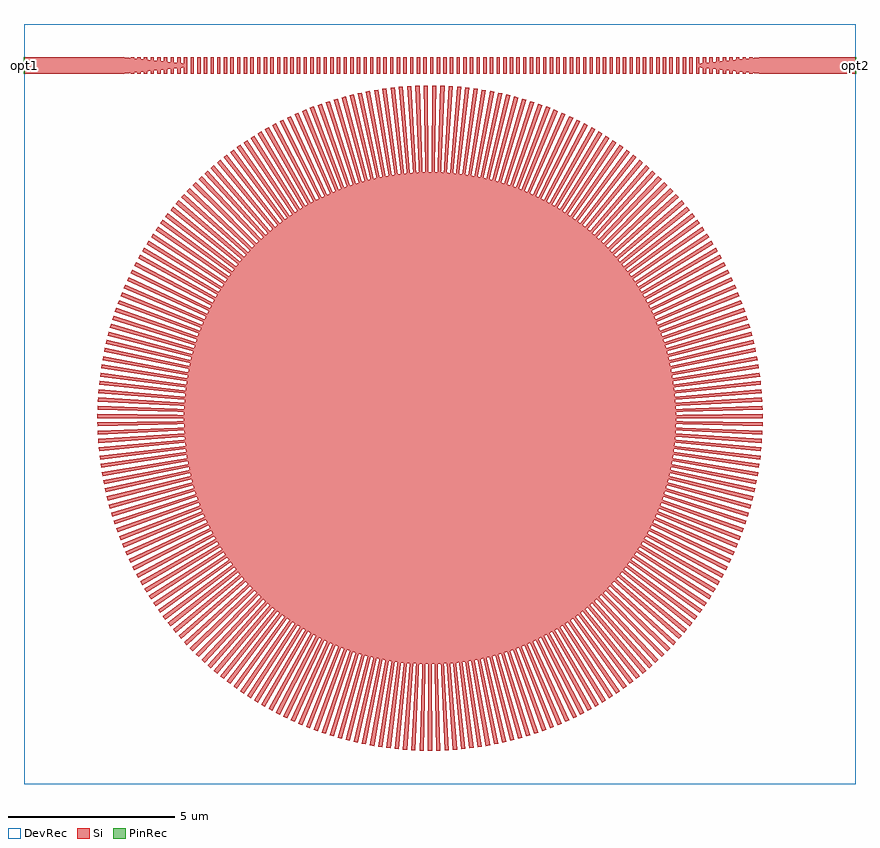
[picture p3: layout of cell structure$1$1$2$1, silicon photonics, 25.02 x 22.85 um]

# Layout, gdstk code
import gdstk
lib = gdstk.Library(unit=1e-6, precision=1e-09)
def R(c, l, rs):  # rectangles x0, y0, x1, y1
    for r in rs: c.add(gdstk.rectangle(r[:2], r[2:], *l))
def A(c, l, x, y, w, h, nx, ny, dx, dy):  # array of equal rectangles
    R(c, l, [(x+i*dx, y+j*dy, x+i*dx+w, y+j*dy+h) for i in range(nx) for j in range(ny)])
def P(c, l, *ps):  # polygons
    for p in ps: c.add(gdstk.Polygon(p, *l))
Si = (1, 0)
PinRec = (1, 10)
DevRec = (68, 0)

swg_8_1_2_1 = lib.new_cell('SWG$8$1$2$1')
A(swg_8_1_2_1, Si, 0.2, -0.25, 0.1, 0.5, 94, 1, 0.2, 0)
R(swg_8_1_2_1, Si, [(-3,-0.25,0,0.25), (19.1,-0.25,22,0.25)])
P(swg_8_1_2_1, Si, [(0,-0.25),(0,0.25),(1.9,0.05),(1.9,-0.05)],
  [(19.1,-0.25),(17.2,-0.05),(17.2,0.05),(19.1,0.25)])

swg_ring_4_1_2_1 = lib.new_cell('swg_ring$4$1$2$1')
P(swg_ring_4_1_2_1, Si, [(-0.063,-10),(-0.003,-0.4),(0.003,-0.4),(0.063,-10)],
  [(-0.018,-7.4),(-0.381,-7.39),(-0.743,-7.363),(-1.103,-7.317),(-1.46,-7.254),(-1.814,-7.174),(-2.164,-7.077),(-2.508,-6.962),(-2.847,-6.83),(-3.178,-6.683),(-3.502,-6.519),(-3.818,-6.339),(-4.124,-6.144),(-4.42,-5.935),(-4.706,-5.711),(-4.981,-5.473),(-5.243,-5.222),(-5.493,-4.959),(-5.729,-4.683),(-5.952,-4.397),(-6.161,-4.1),(-6.354,-3.793),(-6.533,-3.476),(-6.695,-3.152),(-6.842,-2.82),(-6.972,-2.481),(-7.085,-2.136),(-7.181,-1.786),(-7.26,-1.431),(-7.322,-1.074),(-7.366,-0.713),(-7.392,-0.351),(-7.4,0.012),(-7.391,0.375),(-7.363,0.737),(-7.318,1.097),(-7.256,1.455),(-7.176,1.809),(-7.078,2.158),(-6.964,2.503),(-6.833,2.841),(-6.685,3.173),(-6.522,3.497),(-6.342,3.813),(-6.148,4.119),(-5.938,4.416),(-5.714,4.702),(-5.477,4.976),(-5.226,5.239),(-4.963,5.489),(-4.688,5.726),(-4.402,5.949),(-4.104,6.157),(-3.798,6.351),(-3.482,6.53),(-3.157,6.693),(-2.825,6.84),(-2.486,6.97),(-2.141,7.083),(-1.791,7.18),(-1.437,7.259),(-1.079,7.321),(-0.719,7.365),(-0.357,7.391),(0.006,7.4),(0.369,7.391),(0.731,7.364),(1.091,7.319),(1.449,7.257),(1.803,7.177),(2.153,7.08),(2.497,6.966),(2.836,6.835),(3.168,6.688),(3.492,6.524),(3.808,6.345),(4.114,6.151),(4.411,5.942),(4.697,5.718),(4.972,5.481),(5.235,5.231),(5.485,4.967),(5.722,4.693),(5.945,4.406),(6.154,4.109),(6.348,3.803),(6.527,3.487),(6.69,3.162),(6.837,2.83),(6.968,2.492),(7.082,2.147),(7.178,1.797),(7.258,1.443),(7.32,1.085),(7.364,0.725),(7.391,0.363),(7.4,0),(7.39,-0.386),(7.362,-0.748),(7.316,-1.109),(7.253,-1.466),(7.173,-1.82),(7.075,-2.17),(6.96,-2.514),(6.828,-2.852),(6.68,-3.184),(6.516,-3.507),(6.336,-3.823),(6.141,-4.129),(5.931,-4.425),(5.707,-4.711),(5.469,-4.985),(5.218,-5.247),(4.954,-5.497),(4.679,-5.733),(4.392,-5.956),(4.095,-6.164),(3.787,-6.357),(3.471,-6.535),(3.146,-6.698),(2.814,-6.844),(2.475,-6.974),(2.13,-7.087),(1.78,-7.183),(1.426,-7.261),(1.068,-7.323),(0.707,-7.366),(0.345,-7.392)],
  [(0.047,0.397),(0.042,0.398),(1.062,9.943),(1.186,9.929)],
  [(0.324,0.234),(0.321,0.238),(8.031,5.959),(8.105,5.858)],
  [(0.126,0.38),(0.121,0.381),(3.019,9.534),(3.138,9.495)],
  [(0.163,0.365),(0.158,0.367),(3.957,9.184),(4.071,9.134)],
  [(0.207,0.342),(0.203,0.345),(5.072,8.618),(5.18,8.554)],
  [(0.037,0.398),(0.033,0.399),(0.813,9.967),(0.937,9.956)],
  [(0.154,0.369),(0.149,0.371),(3.725,9.28),(3.841,9.233)],
  [(0.351,0.192),(0.348,0.196),(8.712,4.909),(8.773,4.8)],
  [(0.299,0.266),(0.296,0.269),(7.395,6.732),(7.479,6.638)],
  [(0.057,0.396),(0.052,0.397),(1.31,9.914),(1.434,9.897)],
  [(0.346,0.201),(0.343,0.205),(8.586,5.126),(8.65,5.018)],
  [(0.116,0.383),(0.111,0.384),(2.779,9.606),(2.899,9.571)],
  [(0.336,0.218),(0.333,0.222),(8.319,5.549),(8.388,5.445)],
  [(0.341,0.209),(0.338,0.214),(8.455,5.339),(8.521,5.233)],
  [(0.077,0.392),(0.072,0.393),(1.805,9.836),(1.928,9.812)],
  [(0.388,0.099),(0.386,0.104),(9.657,2.598),(9.688,2.477)],
  [(0.224,0.331),(0.22,0.334),(5.497,8.354),(5.601,8.284)],
  [(0.19,0.352),(0.185,0.354),(4.634,8.861),(4.745,8.803)],
  [(0.364,0.165),(0.362,0.17),(9.056,4.242),(9.108,4.128)],
  [(0.318,0.242),(0.315,0.246),(7.879,6.158),(7.956,6.059)],
  [(0.003,0.4),(0.063,10),(0.188,9.998),(0.008,0.4)],
  [(0.013,0.4),(0.313,9.995),(0.438,9.99),(0.018,0.4)],
  [(0.392,0.08),(0.391,0.084),(9.774,2.112),(9.8,1.989)],
  [(0.399,0.03),(0.398,0.035),(9.962,0.875),(9.972,0.75)],
  [(0.382,0.118),(0.381,0.123),(9.514,3.078),(9.552,2.959)],
  [(0.394,0.07),(0.393,0.075),(9.824,1.866),(9.847,1.743)],
  [(0.248,0.314),(0.244,0.317),(6.108,7.918),(6.207,7.841)],
  [(0.306,0.258),(0.302,0.262),(7.561,6.544),(7.643,6.449)],
  [(0.216,0.337),(0.211,0.34),(5.286,8.489),(5.392,8.422)],
  [(0.376,0.137),(0.374,0.142),(9.348,3.551),(9.392,3.433)],
  [(0.39,0.089),(0.389,0.094),(9.719,2.356),(9.747,2.234)],
  [(0.264,0.301),(0.26,0.304),(6.497,7.602),(6.591,7.52)],
  [(0.135,0.377),(0.13,0.378),(3.256,9.455),(3.374,9.413)],
  [(0.4,0.01),(0.4,0.015),(9.993,0.375),(9.997,0.25)],
  [(0.36,0.174),(0.358,0.179),(8.947,4.467),(9.002,4.355)],
  [(0.256,0.307),(0.252,0.31),(6.305,7.762),(6.401,7.683)],
  [(0.144,0.373),(0.14,0.375),(3.492,9.37),(3.609,9.326)],
  [(0.372,0.147),(0.37,0.151),(9.257,3.783),(9.303,3.667)],
  [(0.397,0.05),(0.396,0.055),(9.905,1.372),(9.922,1.248)],
  [(0.379,0.128),(0.377,0.133),(9.434,3.315),(9.475,3.197)],
  [(0.368,0.156),(0.366,0.161),(9.159,4.014),(9.209,3.899)],
  [(0.292,0.273),(0.289,0.277),(7.224,6.915),(7.31,6.824)],
  [(0.312,0.25),(0.309,0.254),(7.723,6.353),(7.802,6.256)],
  [(0.172,0.361),(0.167,0.363),(4.185,9.082),(4.299,9.029)],
  [(0.232,0.326),(0.228,0.329),(5.704,8.213),(5.807,8.141)],
  [(0.023,0.399),(0.563,9.984),(0.688,9.976),(0.028,0.399)],
  [(0.087,0.39),(0.082,0.392),(2.051,9.788),(2.173,9.761)],
  [(0.285,0.28),(0.282,0.284),(7.049,7.093),(7.137,7.004)],
  [(0.199,0.347),(0.194,0.35),(4.855,8.742),(4.964,8.681)],
  [(0.097,0.388),(0.092,0.389),(2.295,9.733),(2.417,9.704)],
  [(0.24,0.32),(0.236,0.323),(5.908,8.068),(6.009,7.993)],
  [(0.278,0.287),(0.275,0.291),(6.869,7.267),(6.96,7.181)],
  [(0.398,0.04),(0.397,0.045),(9.937,1.124),(9.95,1)],
  [(0.356,0.183),(0.353,0.188),(8.832,4.69),(8.89,4.579)],
  [(0.385,0.109),(0.384,0.114),(9.588,2.839),(9.623,2.719)],
  [(0.395,0.06),(0.395,0.065),(9.868,1.62),(9.887,1.496)],
  [(0.271,0.294),(0.267,0.297),(6.685,7.437),(6.778,7.353)],
  [(0.067,0.394),(0.062,0.395),(1.558,9.878),(1.682,9.858)],
  [(0.181,0.357),(0.176,0.359),(4.411,8.974),(4.523,8.919)],
  [(0.33,0.226),(0.327,0.23),(8.178,5.756),(8.249,5.653)],
  [(0.399,0.02),(0.399,0.025),(9.98,0.625),(9.987,0.5)],
  [(0.4,0),(0.4,0.005),(9.999,0.125),(10,0)],
  [(0.106,0.386),(0.102,0.387),(2.538,9.673),(2.659,9.64)],
  [(-0.341,0.209),(-8.521,5.233),(-8.455,5.339),(-0.338,0.214)],
  [(-0.232,0.326),(-5.807,8.141),(-5.704,8.213),(-0.228,0.329)],
  [(-0.379,0.128),(-9.475,3.197),(-9.434,3.315),(-0.377,0.133)],
  [(-0.216,0.337),(-5.392,8.422),(-5.286,8.489),(-0.211,0.34)],
  [(-0.144,0.373),(-3.609,9.326),(-3.492,9.37),(-0.14,0.375)],
  [(-0.394,0.07),(-9.847,1.743),(-9.824,1.866),(-0.393,0.075)],
  [(-0.097,0.388),(-2.417,9.704),(-2.295,9.733),(-0.092,0.389)],
  [(-0.4,0.01),(-9.997,0.25),(-9.993,0.375),(-0.4,0.015)],
  [(-0.382,0.118),(-9.552,2.959),(-9.514,3.078),(-0.381,0.123)],
  [(-0.397,0.05),(-9.922,1.248),(-9.905,1.372),(-0.396,0.055)],
  [(-0.351,0.192),(-8.773,4.8),(-8.712,4.909),(-0.348,0.196)],
  [(-0.199,0.347),(-4.964,8.681),(-4.855,8.742),(-0.194,0.35)],
  [(-0.385,0.109),(-9.623,2.719),(-9.588,2.839),(-0.384,0.114)],
  [(-0.336,0.218),(-8.388,5.445),(-8.319,5.549),(-0.333,0.222)],
  [(-0.181,0.357),(-4.523,8.919),(-4.411,8.974),(-0.176,0.359)],
  [(-0.388,0.099),(-9.688,2.477),(-9.657,2.598),(-0.386,0.104)],
  [(-0.057,0.396),(-1.434,9.897),(-1.31,9.914),(-0.052,0.397)],
  [(-0.248,0.314),(-6.207,7.841),(-6.108,7.918),(-0.244,0.317)],
  [(-0.028,0.399),(-0.688,9.976),(-0.563,9.984),(-0.023,0.399)],
  [(-0.24,0.32),(-6.009,7.993),(-5.908,8.068),(-0.236,0.323)],
  [(-0.271,0.294),(-6.778,7.353),(-6.685,7.437),(-0.267,0.297)],
  [(-0.163,0.365),(-4.071,9.134),(-3.957,9.184),(-0.158,0.367)],
  [(-0.047,0.397),(-1.186,9.929),(-1.062,9.943),(-0.042,0.398)],
  [(-0.376,0.137),(-9.392,3.433),(-9.348,3.551),(-0.374,0.142)],
  [(-0.077,0.392),(-1.928,9.812),(-1.805,9.836),(-0.072,0.393)],
  [(-0.33,0.226),(-8.249,5.653),(-8.178,5.756),(-0.327,0.23)],
  [(-0.36,0.174),(-9.002,4.355),(-8.947,4.467),(-0.358,0.179)],
  [(-0.364,0.165),(-9.108,4.128),(-9.056,4.242),(-0.362,0.17)],
  [(-0.356,0.183),(-8.89,4.579),(-8.832,4.69),(-0.353,0.188)],
  [(-0.372,0.147),(-9.303,3.667),(-9.257,3.783),(-0.37,0.151)],
  [(-0.39,0.089),(-9.747,2.234),(-9.719,2.356),(-0.389,0.094)],
  [(-0.395,0.06),(-9.887,1.496),(-9.868,1.62),(-0.395,0.065)],
  [(-0.399,0.03),(-9.972,0.75),(-9.962,0.875),(-0.398,0.035)],
  [(-0.399,0.02),(-9.987,0.5),(-9.98,0.625),(-0.399,0.025)],
  [(-10,0),(-9.999,0.125),(-0.4,0.005),(-0.4,0)],
  [(-0.018,0.4),(-0.438,9.99),(-0.313,9.995),(-0.013,0.4)],
  [(-0.256,0.307),(-6.401,7.683),(-6.305,7.762),(-0.252,0.31)],
  [(-0.008,0.4),(-0.188,9.998),(-0.063,10),(-0.003,0.4)],
  [(-0.067,0.394),(-1.682,9.858),(-1.558,9.878),(-0.062,0.395)],
  [(-0.087,0.39),(-2.173,9.761),(-2.051,9.788),(-0.082,0.392)],
  [(-0.398,0.04),(-9.95,1),(-9.937,1.124),(-0.397,0.045)],
  [(-0.106,0.386),(-2.659,9.64),(-2.538,9.673),(-0.102,0.387)],
  [(-0.392,0.08),(-9.8,1.989),(-9.774,2.112),(-0.391,0.084)],
  [(-0.368,0.156),(-9.209,3.899),(-9.159,4.014),(-0.366,0.161)],
  [(-0.116,0.383),(-2.899,9.571),(-2.779,9.606),(-0.111,0.384)],
  [(-0.135,0.377),(-3.374,9.413),(-3.256,9.455),(-0.13,0.378)],
  [(-0.126,0.38),(-3.138,9.495),(-3.019,9.534),(-0.121,0.381)],
  [(-0.154,0.369),(-3.841,9.233),(-3.725,9.28),(-0.149,0.371)],
  [(-0.207,0.342),(-5.18,8.554),(-5.072,8.618),(-0.203,0.345)],
  [(-0.172,0.361),(-4.299,9.029),(-4.185,9.082),(-0.167,0.363)],
  [(-0.19,0.352),(-4.745,8.803),(-4.634,8.861),(-0.185,0.354)],
  [(-0.278,0.287),(-6.96,7.181),(-6.869,7.267),(-0.275,0.291)],
  [(-0.264,0.301),(-6.591,7.52),(-6.497,7.602),(-0.26,0.304)],
  [(-0.346,0.201),(-8.65,5.018),(-8.586,5.126),(-0.343,0.205)],
  [(-0.285,0.28),(-7.137,7.004),(-7.049,7.093),(-0.282,0.284)],
  [(-0.224,0.331),(-5.601,8.284),(-5.497,8.354),(-0.22,0.334)],
  [(-0.292,0.273),(-7.31,6.824),(-7.224,6.915),(-0.289,0.277)],
  [(-0.299,0.266),(-7.479,6.638),(-7.395,6.732),(-0.296,0.269)],
  [(-0.324,0.234),(-8.105,5.858),(-8.031,5.959),(-0.321,0.238)],
  [(-0.318,0.242),(-7.956,6.059),(-7.879,6.158),(-0.315,0.246)],
  [(-0.037,0.398),(-0.937,9.956),(-0.813,9.967),(-0.033,0.399)],
  [(-0.306,0.258),(-7.643,6.449),(-7.561,6.544),(-0.302,0.262)],
  [(-0.312,0.25),(-7.802,6.256),(-7.723,6.353),(-0.309,0.254)],
  [(-4.523,-8.919),(-4.634,-8.861),(-0.185,-0.354),(-0.181,-0.357)],
  [(-9.972,-0.75),(-9.98,-0.625),(-0.399,-0.025),(-0.399,-0.03)],
  [(-8.249,-5.653),(-8.319,-5.549),(-0.333,-0.222),(-0.33,-0.226)],
  [(-9.552,-2.959),(-9.588,-2.839),(-0.384,-0.114),(-0.382,-0.118)],
  [(-9.209,-3.899),(-9.257,-3.783),(-0.37,-0.151),(-0.368,-0.156)],
  [(-8.89,-4.579),(-8.947,-4.467),(-0.358,-0.179),(-0.356,-0.183)],
  [(-3.374,-9.413),(-3.492,-9.37),(-0.14,-0.375),(-0.135,-0.377)],
  [(-9.002,-4.355),(-9.056,-4.242),(-0.362,-0.17),(-0.36,-0.174)],
  [(-7.956,-6.059),(-8.031,-5.959),(-0.321,-0.238),(-0.318,-0.242)],
  [(-8.65,-5.018),(-8.712,-4.909),(-0.348,-0.196),(-0.346,-0.201)],
  [(-9.747,-2.234),(-9.774,-2.112),(-0.391,-0.084),(-0.39,-0.089)],
  [(-8.105,-5.858),(-8.178,-5.756),(-0.327,-0.23),(-0.324,-0.234)],
  [(-7.802,-6.256),(-7.879,-6.158),(-0.315,-0.246),(-0.312,-0.25)],
  [(-1.434,-9.897),(-1.558,-9.878),(-0.062,-0.395),(-0.057,-0.396)],
  [(-7.479,-6.638),(-7.561,-6.544),(-0.302,-0.262),(-0.299,-0.266)],
  [(-6.96,-7.181),(-7.049,-7.093),(-0.282,-0.284),(-0.278,-0.287)],
  [(-5.18,-8.554),(-5.286,-8.489),(-0.211,-0.34),(-0.207,-0.342)],
  [(-1.186,-9.929),(-1.31,-9.914),(-0.052,-0.397),(-0.047,-0.397)],
  [(-6.591,-7.52),(-6.685,-7.437),(-0.267,-0.297),(-0.264,-0.301)],
  [(-6.401,-7.683),(-6.497,-7.602),(-0.26,-0.304),(-0.256,-0.307)],
  [(-6.207,-7.841),(-6.305,-7.762),(-0.252,-0.31),(-0.248,-0.314)],
  [(-9.108,-4.128),(-9.159,-4.014),(-0.366,-0.161),(-0.364,-0.165)],
  [(-7.643,-6.449),(-7.723,-6.353),(-0.309,-0.254),(-0.306,-0.258)],
  [(-9.997,-0.25),(-9.999,-0.125),(-0.4,-0.005),(-0.4,-0.01)],
  [(-6.009,-7.993),(-6.108,-7.918),(-0.244,-0.317),(-0.24,-0.32)],
  [(-5.601,-8.284),(-5.704,-8.213),(-0.228,-0.329),(-0.224,-0.331)],
  [(-4.964,-8.681),(-5.072,-8.618),(-0.203,-0.345),(-0.199,-0.347)],
  [(-2.659,-9.64),(-2.779,-9.606),(-0.111,-0.384),(-0.106,-0.386)],
  [(-7.137,-7.004),(-7.224,-6.915),(-0.289,-0.277),(-0.285,-0.28)],
  [(-4.071,-9.134),(-4.185,-9.082),(-0.167,-0.363),(-0.163,-0.365)],
  [(-8.773,-4.8),(-8.832,-4.69),(-0.353,-0.188),(-0.351,-0.192)],
  [(-3.609,-9.326),(-3.725,-9.28),(-0.149,-0.371),(-0.144,-0.373)],
  [(-3.841,-9.233),(-3.957,-9.184),(-0.158,-0.367),(-0.154,-0.369)],
  [(-2.899,-9.571),(-3.019,-9.534),(-0.121,-0.381),(-0.116,-0.383)],
  [(-2.417,-9.704),(-2.538,-9.673),(-0.102,-0.387),(-0.097,-0.388)],
  [(-2.173,-9.761),(-2.295,-9.733),(-0.092,-0.389),(-0.087,-0.39)],
  [(-1.928,-9.812),(-2.051,-9.788),(-0.082,-0.392),(-0.077,-0.392)],
  [(-0.438,-9.99),(-0.563,-9.984),(-0.023,-0.399),(-0.018,-0.4)],
  [(-9.475,-3.197),(-9.514,-3.078),(-0.381,-0.123),(-0.379,-0.128)],
  [(-9.922,-1.248),(-9.937,-1.124),(-0.397,-0.045),(-0.397,-0.05)],
  [(-3.138,-9.495),(-3.256,-9.455),(-0.13,-0.378),(-0.126,-0.38)],
  [(-9.987,-0.5),(-9.993,-0.375),(-0.4,-0.015),(-0.399,-0.02)],
  [(-5.392,-8.422),(-5.497,-8.354),(-0.22,-0.334),(-0.216,-0.337)],
  [(-4.745,-8.803),(-4.855,-8.742),(-0.194,-0.35),(-0.19,-0.352)],
  [(-9.887,-1.496),(-9.905,-1.372),(-0.396,-0.055),(-0.395,-0.06)],
  [(-9.392,-3.433),(-9.434,-3.315),(-0.377,-0.133),(-0.376,-0.137)],
  [(-0.688,-9.976),(-0.813,-9.967),(-0.033,-0.399),(-0.028,-0.399)],
  [(-7.31,-6.824),(-7.395,-6.732),(-0.296,-0.269),(-0.292,-0.273)],
  [(-1.682,-9.858),(-1.805,-9.836),(-0.072,-0.393),(-0.067,-0.394)],
  [(-9.847,-1.743),(-9.868,-1.62),(-0.395,-0.065),(-0.394,-0.07)],
  [(-5.807,-8.141),(-5.908,-8.068),(-0.236,-0.323),(-0.232,-0.326)],
  [(-9.303,-3.667),(-9.348,-3.551),(-0.374,-0.142),(-0.372,-0.147)],
  [(-4.299,-9.029),(-4.411,-8.974),(-0.176,-0.359),(-0.172,-0.361)],
  [(-9.688,-2.477),(-9.719,-2.356),(-0.389,-0.094),(-0.388,-0.099)],
  [(-9.95,-1),(-9.962,-0.875),(-0.398,-0.035),(-0.398,-0.04)],
  [(-8.521,-5.233),(-8.586,-5.126),(-0.343,-0.205),(-0.341,-0.209)],
  [(-0.937,-9.956),(-1.062,-9.943),(-0.042,-0.398),(-0.037,-0.398)],
  [(-8.388,-5.445),(-8.455,-5.339),(-0.338,-0.214),(-0.336,-0.218)],
  [(-0.188,-9.998),(-0.313,-9.995),(-0.013,-0.4),(-0.008,-0.4)],
  [(-6.778,-7.353),(-6.869,-7.267),(-0.275,-0.291),(-0.271,-0.294)],
  [(-9.8,-1.989),(-9.824,-1.866),(-0.393,-0.075),(-0.392,-0.08)],
  [(-9.623,-2.719),(-9.657,-2.598),(-0.386,-0.104),(-0.385,-0.109)],
  [(2.659,-9.64),(0.106,-0.386),(0.111,-0.384),(2.779,-9.606)],
  [(9.972,-0.75),(0.399,-0.03),(0.399,-0.025),(9.98,-0.625)],
  [(0.188,-9.998),(0.008,-0.4),(0.013,-0.4),(0.313,-9.995)],
  [(0.438,-9.99),(0.018,-0.4),(0.023,-0.399),(0.563,-9.984)],
  [(0.937,-9.956),(0.037,-0.398),(0.042,-0.398),(1.062,-9.943)],
  [(3.841,-9.233),(0.154,-0.369),(0.158,-0.367),(3.957,-9.184)],
  [(1.434,-9.897),(0.057,-0.396),(0.062,-0.395),(1.558,-9.878)],
  [(2.173,-9.761),(0.087,-0.39),(0.092,-0.389),(2.295,-9.733)],
  [(2.417,-9.704),(0.097,-0.388),(0.102,-0.387),(2.538,-9.673)],
  [(5.601,-8.284),(0.224,-0.331),(0.228,-0.329),(5.704,-8.213)],
  [(9.209,-3.899),(0.368,-0.156),(0.37,-0.151),(9.257,-3.783)],
  [(9.987,-0.5),(0.399,-0.02),(0.4,-0.015),(9.993,-0.375)],
  [(2.899,-9.571),(0.116,-0.383),(0.121,-0.381),(3.019,-9.534)],
  [(3.609,-9.326),(0.144,-0.373),(0.149,-0.371),(3.725,-9.28)],
  [(4.071,-9.134),(0.163,-0.365),(0.167,-0.363),(4.185,-9.082)],
  [(1.928,-9.812),(0.077,-0.392),(0.082,-0.392),(2.051,-9.788)],
  [(5.18,-8.554),(0.207,-0.342),(0.211,-0.34),(5.286,-8.489)],
  [(4.299,-9.029),(0.172,-0.361),(0.176,-0.359),(4.411,-8.974)],
  [(6.009,-7.993),(0.24,-0.32),(0.244,-0.317),(6.108,-7.918)],
  [(3.374,-9.413),(0.135,-0.377),(0.14,-0.375),(3.492,-9.37)],
  [(4.964,-8.681),(0.199,-0.347),(0.203,-0.345),(5.072,-8.618)],
  [(6.207,-7.841),(0.248,-0.314),(0.252,-0.31),(6.305,-7.762)],
  [(1.682,-9.858),(0.067,-0.394),(0.072,-0.393),(1.805,-9.836)],
  [(6.401,-7.683),(0.256,-0.307),(0.26,-0.304),(6.497,-7.602)],
  [(7.956,-6.059),(0.318,-0.242),(0.321,-0.238),(8.031,-5.959)],
  [(9.688,-2.477),(0.388,-0.099),(0.389,-0.094),(9.719,-2.356)],
  [(6.96,-7.181),(0.278,-0.287),(0.282,-0.284),(7.049,-7.093)],
  [(7.643,-6.449),(0.306,-0.258),(0.309,-0.254),(7.723,-6.353)],
  [(4.523,-8.919),(0.181,-0.357),(0.185,-0.354),(4.634,-8.861)],
  [(9.95,-1),(0.398,-0.04),(0.398,-0.035),(9.962,-0.875)],
  [(7.31,-6.824),(0.292,-0.273),(0.296,-0.269),(7.395,-6.732)],
  [(7.802,-6.256),(0.312,-0.25),(0.315,-0.246),(7.879,-6.158)],
  [(0.688,-9.976),(0.028,-0.399),(0.033,-0.399),(0.813,-9.967)],
  [(8.521,-5.233),(0.341,-0.209),(0.343,-0.205),(8.586,-5.126)],
  [(8.105,-5.858),(0.324,-0.234),(0.327,-0.23),(8.178,-5.756)],
  [(5.392,-8.422),(0.216,-0.337),(0.22,-0.334),(5.497,-8.354)],
  [(4.745,-8.803),(0.19,-0.352),(0.194,-0.35),(4.855,-8.742)],
  [(9.847,-1.743),(0.394,-0.07),(0.395,-0.065),(9.868,-1.62)],
  [(8.249,-5.653),(0.33,-0.226),(0.333,-0.222),(8.319,-5.549)],
  [(8.773,-4.8),(0.351,-0.192),(0.353,-0.188),(8.832,-4.69)],
  [(9.002,-4.355),(0.36,-0.174),(0.362,-0.17),(9.056,-4.242)],
  [(9.108,-4.128),(0.364,-0.165),(0.366,-0.161),(9.159,-4.014)],
  [(8.65,-5.018),(0.346,-0.201),(0.348,-0.196),(8.712,-4.909)],
  [(9.303,-3.667),(0.372,-0.147),(0.374,-0.142),(9.348,-3.551)],
  [(9.392,-3.433),(0.376,-0.137),(0.377,-0.133),(9.434,-3.315)],
  [(9.475,-3.197),(0.379,-0.128),(0.381,-0.123),(9.514,-3.078)],
  [(7.137,-7.004),(0.285,-0.28),(0.289,-0.277),(7.224,-6.915)],
  [(6.778,-7.353),(0.271,-0.294),(0.275,-0.291),(6.869,-7.267)],
  [(5.807,-8.141),(0.232,-0.326),(0.236,-0.323),(5.908,-8.068)],
  [(6.591,-7.52),(0.264,-0.301),(0.267,-0.297),(6.685,-7.437)],
  [(7.479,-6.638),(0.299,-0.266),(0.302,-0.262),(7.561,-6.544)],
  [(9.997,-0.25),(0.4,-0.01),(0.4,-0.005),(9.999,-0.125)],
  [(8.388,-5.445),(0.336,-0.218),(0.338,-0.214),(8.455,-5.339)],
  [(9.552,-2.959),(0.382,-0.118),(0.384,-0.114),(9.588,-2.839)],
  [(9.623,-2.719),(0.385,-0.109),(0.386,-0.104),(9.657,-2.598)],
  [(9.747,-2.234),(0.39,-0.089),(0.391,-0.084),(9.774,-2.112)],
  [(1.186,-9.929),(0.047,-0.397),(0.052,-0.397),(1.31,-9.914)],
  [(8.89,-4.579),(0.356,-0.183),(0.358,-0.179),(8.947,-4.467)],
  [(9.8,-1.989),(0.392,-0.08),(0.393,-0.075),(9.824,-1.866)],
  [(3.138,-9.495),(0.126,-0.38),(0.13,-0.378),(3.256,-9.455)],
  [(9.887,-1.496),(0.395,-0.06),(0.396,-0.055),(9.905,-1.372)],
  [(9.922,-1.248),(0.397,-0.05),(0.397,-0.045),(9.937,-1.124)])

structure_1_1_2_1 = lib.new_cell('structure$1$1$2$1')
R(structure_1_1_2_1, DevRec, [(-12,-11,13,11.85)])
structure_1_1_2_1.add(gdstk.FlexPath([(-11.99,10.6),(-12.01,10.6)], 0.5, ends="flush", simple_path=True, layer=1, datatype=10))  # PinRec
structure_1_1_2_1.add(gdstk.FlexPath([(12.99,10.6),(13.01,10.6)], 0.5, ends="flush", simple_path=True, layer=1, datatype=10))  # PinRec
structure_1_1_2_1.add(gdstk.Reference(swg_8_1_2_1, (-9,10.6)))
structure_1_1_2_1.add(gdstk.Reference(swg_ring_4_1_2_1, (0.2,0)))
structure_1_1_2_1.add(gdstk.Label('opt1', (-12,10.6), layer=1, texttype=10))
structure_1_1_2_1.add(gdstk.Label('opt2', (13,10.6), layer=1, texttype=10))

lib.write_gds('structure_1_1_2_1.gds')
